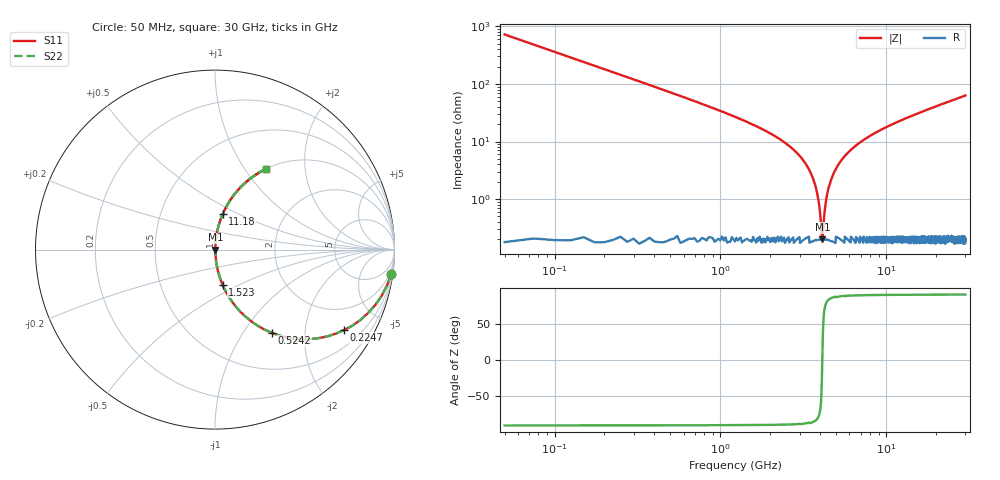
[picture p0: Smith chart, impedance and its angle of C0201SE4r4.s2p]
!	AVX Thin Film Operation 	Date: April 2014
!	Description: Accu-P® Series, Thin Film  SMD RF Capacitor
!	Part Number: 02013K4R4ABSTR
# MHZ S MA R 50
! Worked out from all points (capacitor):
!   1201 points, 50 MHz to 30 GHz, reference 50 ohm
!   read as one part in series: C = 4.4 pF near 199.8 MHz
!   lowest |Z| = 200 mohm at 4.118 GHz (marker M1)
!   series resonance near 4.115 GHz, so ESL is about 340 pH
!   S11 on the Smith chart (normalised r, x): 50 MHz: 1, -14; 224.7 MHz: 1.01, -3.21; 524.2 MHz: 1.00, -1.36; 1.523 GHz: 1.00, -0.41; 11.18 GHz: 1.00, +0.41; 30 GHz: 1.00, +1.26
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50  0.991 -7.9  0.137 82.1  0.137 82.1  0.991 -7.9
224.708  0.848 -31.9  0.529 58.0  0.529 58.0  0.848 -31.9
524.208  0.561 -55.7  0.826 34.1  0.826 34.1  0.561 -55.7
898.583  0.357 -68.8  0.932 20.9  0.932 20.9  0.357 -68.8
1522.542  0.2 -77.9  0.978 11.6  0.978 11.6  0.2 -77.9
2745.5  0.073 -84.3  0.995 4.2  0.995 4.2  0.073 -84.3
3369.458  0.035 -84.8  0.997 2.0  0.997 2.0  0.035 -84.8
3743.833  0.017 -82.3  0.998 1.0  0.998 1.0  0.017 -82.3
4018.375  0.004609 -64.4  0.998 0.2  0.998 0.2  0.004609 -64.4
4118.208  0.001981 4.1  0.998 -0.0  0.998 -0.0  0.001981 4.1
4218.042  0.004774 65.3  0.998 -0.2  0.998 -0.2  0.004774 65.3
4367.792  0.011 78.7  0.998 -0.6  0.998 -0.6  0.011 78.7
4517.542  0.017 82.2  0.998 -0.9  0.998 -0.9  0.017 82.2
5041.667  0.036 84.8  0.997 -2.1  0.997 -2.1  0.036 84.8
5690.583  0.058 84.7  0.996 -3.3  0.996 -3.3  0.058 84.7
6763.792  0.09 83.6  0.994 -5.2  0.994 -5.2  0.09 83.6
10058.29  0.176 79.2  0.982 -10.1  0.982 -10.1  0.176 79.2
11181.42  0.202 77.8  0.977 -11.6  0.977 -11.6  0.202 77.8
15025  0.284 73.1  0.957 -16.5  0.957 -16.5  0.284 73.1
20016.67  0.378 67.5  0.924 -22.2  0.924 -22.2  0.378 67.5
25033.29  0.461 62.3  0.886 -27.4  0.886 -27.4  0.461 62.3
30000  0.532 57.7  0.845 -32.1  0.845 -32.1  0.532 57.7
